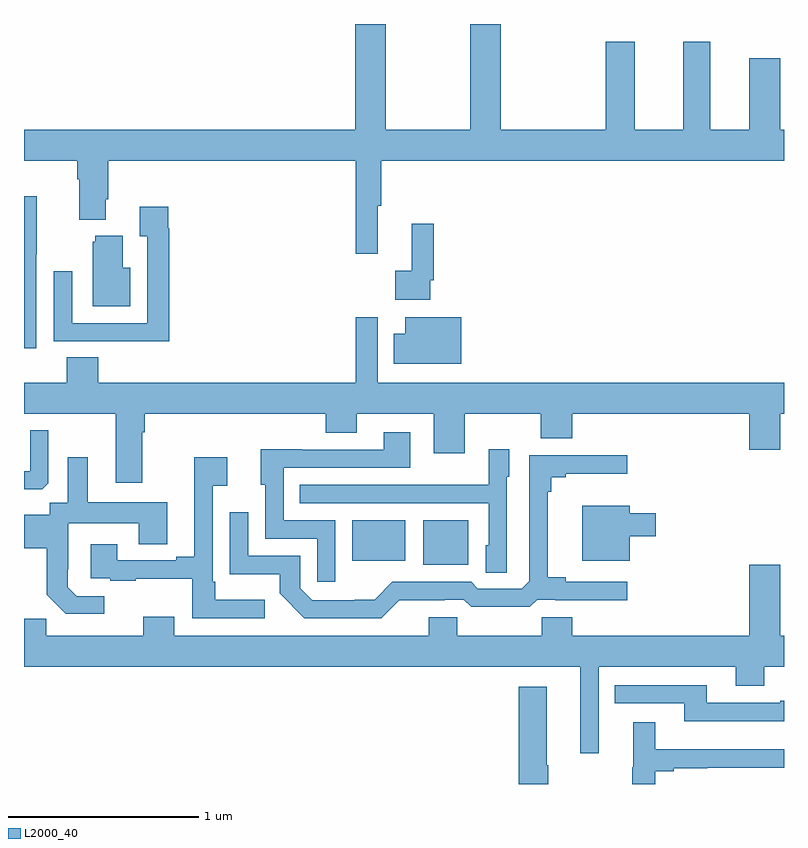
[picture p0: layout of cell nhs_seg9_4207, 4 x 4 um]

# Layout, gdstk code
import gdstk
lib = gdstk.Library(unit=1e-6, precision=1e-09)
def R(c, l, rs):  # rectangles x0, y0, x1, y1
    for r in rs: c.add(gdstk.rectangle(r[:2], r[2:], *l))
def P(c, l, *ps):  # polygons
    for p in ps: c.add(gdstk.Polygon(p, *l))
L2000_40 = (2000, 40)

nhs_seg9_4207 = lib.new_cell('nhs_seg9_4207')
R(nhs_seg9_4207, L2000_40, [(355.1,1167.653,355.339,1167.889), (354.728,1167.674,355.006,1167.889), (356.261,1170.498,356.425,1170.5)])
P(nhs_seg9_4207, L2000_40, [(354.863,1169.544),(354.881,1169.544),(354.881,1169.78),(357,1169.78),(357,1169.944),(356.98,1169.944),(356.98,1170.319),(356.816,1170.319),(356.816,1169.944),(356.611,1169.944),(356.611,1170.406),(356.471,1170.406),(356.471,1169.944),(356.215,1169.944),(356.215,1170.406),(356.063,1170.406),(356.063,1169.944),(355.508,1169.944),(355.508,1170.5),(355.348,1170.5),(355.348,1169.944),(354.903,1169.944),(354.903,1170.5),(354.743,1170.5),(354.743,1169.944),(353,1169.944),(353,1169.78),(353.279,1169.78),(353.279,1169.684),(353.291,1169.684),(353.291,1169.471),(353.431,1169.471),(353.431,1169.578),(353.444,1169.578),(353.444,1169.78),(354.745,1169.78),(354.745,1169.292),(354.863,1169.292)],
  [(353.064,1169.287),(353.067,1169.287),(353.067,1169.594),(353,1169.594),(353,1168.794),(353.064,1168.794)],
  [(353.765,1169.426),(353.758,1169.426),(353.758,1169.539),(353.609,1169.539),(353.609,1169.383),(353.649,1169.383),(353.649,1168.926),(353.253,1168.926),(353.253,1169.2),(353.157,1169.2),(353.157,1168.83),(353.473,1168.83),(353.473,1168.829),(353.765,1168.829)],
  [(355.137,1169.152),(355.157,1169.152),(355.157,1169.449),(355.04,1169.449),(355.04,1169.201),(354.954,1169.201),(354.954,1169.048),(355.137,1169.048)],
  [(353.56,1169.218),(353.521,1169.218),(353.521,1169.386),(353.375,1169.386),(353.375,1169.355),(353.363,1169.355),(353.363,1169.015),(353.56,1169.015)],
  [(355.3,1168.957),(355.007,1168.957),(355.007,1168.87),(354.946,1168.87),(354.946,1168.712),(355.3,1168.712)],
  [(353.39,1168.745),(353.225,1168.745),(353.225,1168.612),(353,1168.612),(353,1168.448),(353.483,1168.448),(353.483,1168.086),(353.623,1168.086),(353.623,1168.352),(353.636,1168.352),(353.636,1168.448),(354.587,1168.448),(354.587,1168.349),(354.751,1168.349),(354.751,1168.448),(355.157,1168.448),(355.157,1168.242),(355.321,1168.242),(355.321,1168.448),(355.721,1168.448),(355.721,1168.32),(355.885,1168.32),(355.885,1168.448),(356.816,1168.448),(356.816,1168.26),(356.98,1168.26),(356.98,1168.448),(357,1168.448),(357,1168.612),(354.861,1168.612),(354.861,1168.957),(354.745,1168.957),(354.745,1168.612),(353.39,1168.612)],
  [(353.127,1168.083),(353.127,1168.363),(353.034,1168.363),(353.034,1168.146),(353,1168.146),(353,1168.052),(353.095,1168.052)],
  [(354.639,1167.888),(354.366,1167.888),(354.366,1168.164),(355.033,1168.164),(355.033,1168.351),(354.893,1168.351),(354.893,1168.26),(354.463,1168.26),(354.463,1168.262),(354.245,1168.262),(354.245,1168.074),(354.27,1168.074),(354.27,1167.792),(354.543,1167.792),(354.543,1167.564),(354.639,1167.564)],
  [(355.542,1168.116),(355.555,1168.116),(355.555,1168.261),(355.446,1168.261),(355.446,1168.075),(355.129,1168.075),(355.129,1168.074),(354.451,1168.074),(354.451,1167.978),(355.446,1167.978),(355.446,1167.756),(355.43,1167.756),(355.43,1167.613),(355.542,1167.613)],
  [(354.974,1167.467),(355.214,1167.467),(355.214,1167.471),(355.314,1167.471),(355.354,1167.432),(355.661,1167.432),(355.701,1167.471),(355.795,1167.471),(355.795,1167.467),(356.176,1167.467),(356.176,1167.564),(355.852,1167.564),(355.852,1167.587),(355.757,1167.587),(355.757,1168.037),(355.775,1168.037),(355.775,1168.114),(355.852,1168.114),(355.852,1168.133),(356.176,1168.133),(356.176,1168.23),(355.659,1168.23),(355.659,1167.567),(355.62,1167.528),(355.389,1167.528),(355.353,1167.564),(354.939,1167.564),(354.845,1167.47),(354.74,1167.47),(354.74,1167.468),(354.516,1167.468),(354.453,1167.531),(354.453,1167.702),(354.18,1167.702),(354.18,1167.931),(354.084,1167.931),(354.084,1167.605),(354.346,1167.605),(354.346,1167.503),(354.476,1167.372),(354.879,1167.372)],
  [(353.422,1167.489),(353.277,1167.489),(353.23,1167.536),(353.23,1167.631),(353.232,1167.631),(353.232,1167.872),(353.603,1167.872),(353.603,1167.763),(353.755,1167.763),(353.755,1167.982),(353.335,1167.982),(353.335,1168.219),(353.231,1168.219),(353.231,1167.98),(353.136,1167.98),(353.136,1167.916),(353,1167.916),(353,1167.741),(353.121,1167.741),(353.121,1167.495),(353.221,1167.395),(353.422,1167.395)],
  [(354.268,1167.469),(354.007,1167.469),(354.007,1167.565),(353.994,1167.565),(353.994,1168.07),(354.07,1168.07),(354.07,1168.219),(353.897,1168.219),(353.897,1167.697),(353.801,1167.697),(353.801,1167.678),(353.491,1167.678),(353.491,1167.763),(353.351,1167.763),(353.351,1167.582),(353.455,1167.582),(353.455,1167.57),(353.587,1167.57),(353.587,1167.581),(353.886,1167.581),(353.886,1167.372),(354.268,1167.372)],
  [(356.188,1167.803),(356.326,1167.803),(356.326,1167.925),(356.188,1167.925),(356.188,1167.964),(355.937,1167.964),(355.937,1167.674),(356.188,1167.674)],
  [(356.025,1167.116),(356.747,1167.116),(356.747,1167.017),(356.895,1167.017),(356.895,1167.116),(357,1167.116),(357,1167.28),(356.98,1167.28),(356.98,1167.655),(356.816,1167.655),(356.816,1167.28),(355.886,1167.28),(355.886,1167.378),(355.726,1167.378),(355.726,1167.28),(355.281,1167.28),(355.281,1167.378),(355.13,1167.378),(355.13,1167.28),(353.791,1167.28),(353.791,1167.379),(353.627,1167.379),(353.627,1167.28),(353.117,1167.28),(353.117,1167.371),(353,1167.371),(353,1167.116),(355.928,1167.116),(355.928,1166.661),(356.025,1166.661)],
  [(357,1166.938),(356.979,1166.938),(356.979,1166.928),(356.593,1166.928),(356.593,1167.021),(356.11,1167.021),(356.11,1166.925),(356.474,1166.925),(356.474,1166.831),(357,1166.831)],
  [(355.758,1166.6),(355.75,1166.6),(355.75,1167.013),(355.604,1167.013),(355.604,1166.5),(355.758,1166.5)],
  [(356.323,1166.566),(356.419,1166.566),(356.419,1166.584),(356.597,1166.584),(356.597,1166.586),(357,1166.586),(357,1166.683),(356.323,1166.683),(356.323,1166.824),(356.207,1166.824),(356.207,1166.589),(356.2,1166.589),(356.2,1166.5),(356.323,1166.5)])

lib.write_gds('nhs_seg9_4207.gds')
